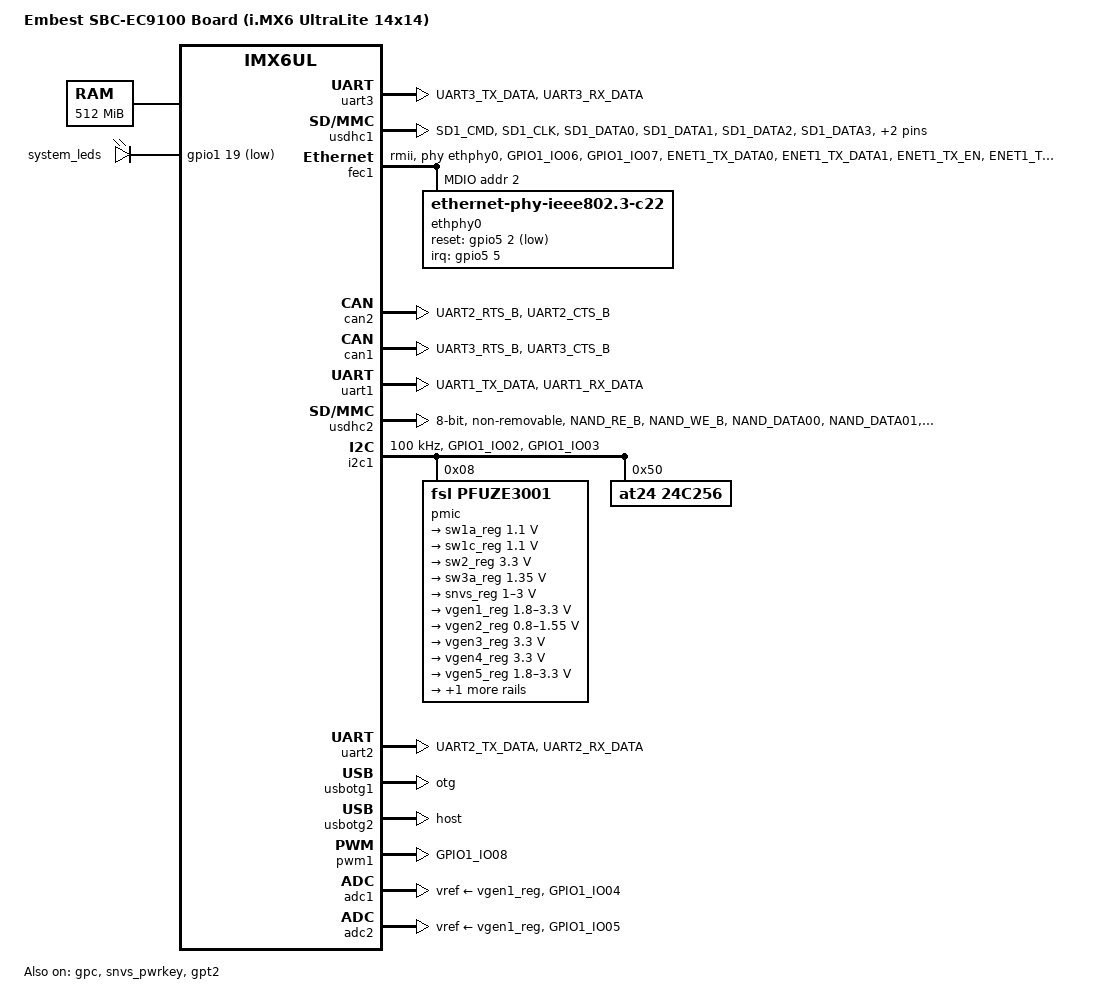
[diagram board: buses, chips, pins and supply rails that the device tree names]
/*
 * Copyright (C) 2015 Freescale Semiconductor, Inc.
 *
 * This program is free software; you can redistribute it and/or modify
 * it under the terms of the GNU General Public License version 2 as
 * published by the Free Software Foundation.
 */

/dts-v1/;

#include <dt-bindings/input/input.h>
#include "imx6ul.dtsi"

/ {
	model = "Embest SBC-EC9100 Board (i.MX6 UltraLite 14x14) ";
	compatible = "fsl,embest_evk_ec9100", "fsl,imx6ul";

	chosen {
		stdout-path = "serial2:115200n8";
	};

	memory {
		reg = <0x80000000 0x20000000>;
	};

	regulators {
		compatible = "simple-bus";
		#address-cells = <1>;
		#size-cells = <0>;
	};

	leds {
		compatible = "gpio-leds";

		led1 {
			label = "system_leds";
			gpios = <&gpio1 19 1>;
			linux,default-trigger = "heartbeat";
		};
	};
};

&cpu0 {
	arm-supply = <&reg_arm>;
	soc-supply = <&reg_soc>;
	clock-frequency = <528000000>;
};

&clks {
	assigned-clocks = <&clks IMX6UL_CLK_PLL4_AUDIO_DIV>;
	assigned-clock-rates = <786432000>;
};

&gpc {
	status = "okay";
};

&uart3 {
	pinctrl-names = "default";
	pinctrl-0 = <&pinctrl_uart3>;
	status = "okay";
	dmas = <&sdma 29 4 0>, <&sdma 30 4 2>;
	dma-names = "rx", "tx";
};

&usdhc1 {
	pinctrl-names = "default", "state_100mhz", "state_200mhz";
	pinctrl-0 = <&pinctrl_usdhc1>;
	pinctrl-1 = <&pinctrl_usdhc1_100mhz>;
	pinctrl-2 = <&pinctrl_usdhc1_200mhz>;
	cd-gpios = <&gpio5 1 GPIO_ACTIVE_LOW>;
	wp-disable;
	keep-power-in-suspend;
	enable-sdio-wakeup;
	status = "okay";
};

&fec1 {
	pinctrl-names = "default";
	pinctrl-0 = <&pinctrl_enet1>;
	phy-mode = "rmii";
	phy-handle = <&ethphy0>;
	status = "okay";
	// Deprecated
	//phy-reset-gpios = <&gpio5 2 GPIO_ACTIVE_LOW>;
	//phy-reset-duration = <1>;
	//phy-reset-postdelay = <1>;
	// This appears to be a FreeBSD extension.
	//phy-disable-preamble;

	mdio {
		#address-cells = <1>;
		#size-cells = <0>;
		suppress-preamble;

		ethphy0: ethernet-phy@2 {
			compatible = "ethernet-phy-ieee802.3-c22";
			reg = <2>;
			micrel,led-mode = <1>;
			clocks = <&clks IMX6UL_CLK_ENET_REF>;
			clock-names = "rmii-ref";
			max-speed = <100>;
			interrupt-parent = <&gpio5>;
			interrupts = <5 IRQ_TYPE_LEVEL_LOW>;
			reset-gpios = <&gpio5 2 GPIO_ACTIVE_LOW>;
			reset-assert-us = <500>;
			reset-deassert-us = <100>;
		};
	};
};

&can2 {
	pinctrl-names = "default";
	pinctrl-0 = <&pinctrl_flexcan2>;
	status = "okay";
};

&can1 {
	pinctrl-names = "default";
	pinctrl-0 = <&pinctrl_flexcan1>;
	status = "okay";
};

&uart1 {
	pinctrl-names = "default";
	pinctrl-0 = <&pinctrl_uart1>;
	fsl,uart-has-rtscts;
	cts-gpio = <&gpio1 18 0>;
	status = "okay";
	linux,rs485-enabled-at-boot-time;
	dmas = <&sdma 25 4 0>, <&sdma 26 4 2>;
	dma-names = "rx", "tx";
};

&usdhc2 {
	pinctrl-names = "default";
	pinctrl-0 = <&pinctrl_usdhc2>;
	no-1-8-v;
	non-removable;
	keep-power-in-suspend;
	enable-sdio-wakeup;
	bus-width = <8>;
	status = "okay";
};

&i2c1 {
	clock-frequency = <100000>;
	pinctrl-names = "default";
	pinctrl-0 = <&pinctrl_i2c1>;
	status = "okay";

	pmic: pfuze3000@8 {
		compatible = "fsl,pfuze3001";
		reg = <0x08>;
		fsl,pfuze-support-disable-sw;

		regulators {
			// A7 part defaults to 1.4
			sw1a_reg: sw1a {
				regulator-min-microvolt = <1100000>;
				regulator-max-microvolt = <1100000>;
				regulator-boot-on;
				regulator-always-on;
				regulator-ramp-delay = <6250>;
			};

			// A7 part defaults to 1.4
			/* use sw1c_reg to align with pfuze100/pfuze200 */
			sw1c_reg: sw1b {
				regulator-min-microvolt = <1100000>;
				regulator-max-microvolt = <1100000>;
				regulator-boot-on;
				regulator-always-on;
				regulator-ramp-delay = <6250>;
			};

			// A7 part defaults to 3.3
			sw2_reg: sw2 {
				regulator-min-microvolt = <3300000>;
				regulator-max-microvolt = <3300000>;
				regulator-boot-on;
				regulator-always-on;
			};

			// A7 part defaults to 1.35
			sw3a_reg: sw3 {
				regulator-min-microvolt = <1350000>;
				regulator-max-microvolt = <1350000>;
				regulator-boot-on;
				regulator-always-on;
			};

			// TODO: Verify this... reset etc.
			// It looks like this actually needs to be at least 3
			// A7 part defaults to 3.0
			snvs_reg: vsnvs {
				regulator-min-microvolt = <1000000>;
				regulator-max-microvolt = <3000000>;
				regulator-boot-on;
				regulator-always-on;
			};

			// A7 part defaults to 3.3
			vgen1_reg: vldo1 {
				regulator-min-microvolt = <1800000>;
				regulator-max-microvolt = <3300000>;
			};

			// Not connected in schematic
			// A7 part defaults to 1.5 (OFF)
			vgen2_reg: vldo2 {
				regulator-min-microvolt = <800000>;
				regulator-max-microvolt = <1550000>;
			};

			// Was 1V8, 3V3 on schematic
			// A7 part defaults to 3.3/1.85 depending on strapping
			vgen3_reg: vccsd {
				regulator-min-microvolt = <3300000>;
				regulator-max-microvolt = <3300000>;
				regulator-always-on;
			};

			// A7 part defaults to 3.3
			vgen4_reg: v33 {
				regulator-min-microvolt = <3300000>;
				regulator-max-microvolt = <3300000>;
				regulator-always-on;
			};

			// Was 3V3, despite schematic, but has nothing on it.
			// (Is for WiFi which is DNP)
			// A7 part defaults to 1.8 (OFF)
			vgen5_reg: vldo3 {
				regulator-min-microvolt = <1800000>;
				regulator-max-microvolt = <3300000>;
			};

			// Nothing in schemtatic, but listed as 3V3
			// A7 part defaults to 1.8
			vgen6_reg: vldo4 {
				regulator-min-microvolt = <1800000>;
				regulator-max-microvolt = <3300000>;
			};
		};
	};

	// Serial EEPROM
	at24@50 {
		compatible = "at24,24c256";
		pagesize = <64>;
		reg = <0x50>;
	};
};

&uart2 {
	pinctrl-names = "default";
	pinctrl-0 = <&pinctrl_uart2>;
	status = "okay";
	dmas = <&sdma 27 4 0>, <&sdma 28 4 2>;
	dma-names = "rx", "tx";
};

&usbotg1 {
	dr_mode = "otg";
	disable-over-current;
	srp-disable;
	hnp-disable;
	adp-disable;
	status = "okay";
};


&usbotg2 {
	dr_mode = "host";
	disable-over-current;
	status = "okay";
};

&pwm1 {
	pinctrl-names = "default";
	pinctrl-0 = <&pinctrl_pwm1>;
	status = "okay";
};

&adc1 {
	pinctrl-names = "default";
	pinctrl-0 = <&pinctrl_adc1>;
	status = "okay";
	vref-supply = <&vgen1_reg>;
	adc-ch-list = <4>;
};

&aips2 {
	adc2: adc@219c000 {
		compatible = "fsl,imx6ul-adc", "fsl,vf610-adc";
		reg = <0x0219c000 0x4000>;
		interrupts = <GIC_SPI 101 IRQ_TYPE_LEVEL_HIGH>;
		clocks = <&clks IMX6UL_CLK_ADC2>;
		clock-names = "adc";
		fsl,adck-max-frequency = <30000000>, <40000000>,
					 <20000000>;
		status = "disabled";
	};
};

&adc2 {
	pinctrl-names = "default";
	pinctrl-0 = <&pinctrl_adc2>;
	status = "okay";
	vref-supply = <&vgen1_reg>;
	adc-ch-list = <5>;
};

&iomuxc {
	pinctrl-names = "default";
	pinctrl-0 = <&pinctrl_hog_1>;
	imx6ul-evk {
		pinctrl_hog_1: hoggrp-1 {
			fsl,pins = <
				MX6UL_PAD_LCD_RESET__WDOG1_WDOG_ANY 0x30b0	/*reset gpio*/
				MX6UL_PAD_SNVS_TAMPER0__GPIO5_IO00  0x80000000 /*cs-gpio*/
				MX6UL_PAD_SNVS_TAMPER4__GPIO5_IO04  0x17059 /* GPIO EX */
				MX6UL_PAD_GPIO1_IO09__GPIO1_IO09  0x17059 /* GPIO/PWM2*/
				MX6UL_PAD_UART1_RTS_B__GPIO1_IO19	0x80000000 /* LED */
				MX6UL_PAD_UART1_CTS_B__GPIO1_IO18    	0x80000000
				MX6UL_PAD_GPIO1_IO01__GPIO1_IO01      0xb0 // tsc
			>;
		};

		pinctrl_csi1: csi1grp {
			fsl,pins = <
				MX6UL_PAD_CSI_MCLK__CSI_MCLK		0x1b088
				MX6UL_PAD_CSI_PIXCLK__CSI_PIXCLK	0x1b088
				MX6UL_PAD_CSI_VSYNC__CSI_VSYNC		0x1b088
				MX6UL_PAD_CSI_HSYNC__CSI_HSYNC		0x1b088
				MX6UL_PAD_CSI_DATA00__CSI_DATA02	0x1b088
				MX6UL_PAD_CSI_DATA01__CSI_DATA03	0x1b088
				MX6UL_PAD_CSI_DATA02__CSI_DATA04	0x1b088
				MX6UL_PAD_CSI_DATA03__CSI_DATA05	0x1b088
				MX6UL_PAD_CSI_DATA04__CSI_DATA06	0x1b088
				MX6UL_PAD_CSI_DATA05__CSI_DATA07	0x1b088
				MX6UL_PAD_CSI_DATA06__CSI_DATA08	0x1b088
				MX6UL_PAD_CSI_DATA07__CSI_DATA09	0x1b088
			>;
		};

		pinctrl_uart3: uart3grp {
			fsl,pins = <
				MX6UL_PAD_UART3_TX_DATA__UART3_DCE_TX  0x1b0b1
				MX6UL_PAD_UART3_RX_DATA__UART3_DCE_RX  0x1b0b1
			>;
		};

		pinctrl_usdhc1: usdhc1grp {
			fsl,pins = <
				MX6UL_PAD_SD1_CMD__USDHC1_CMD     0x17059
				MX6UL_PAD_SD1_CLK__USDHC1_CLK     0x10071
				MX6UL_PAD_SD1_DATA0__USDHC1_DATA0 0x17059
				MX6UL_PAD_SD1_DATA1__USDHC1_DATA1 0x17059
				MX6UL_PAD_SD1_DATA2__USDHC1_DATA2 0x17059
				MX6UL_PAD_SD1_DATA3__USDHC1_DATA3 0x17059
				MX6UL_PAD_SNVS_TAMPER1__GPIO5_IO01  0x17059 /* SD1 CD */
			>;
		};

		pinctrl_usdhc1_100mhz: usdhc1grp100mhz {
			fsl,pins = <
				MX6UL_PAD_SD1_CMD__USDHC1_CMD     0x170b9
				MX6UL_PAD_SD1_CLK__USDHC1_CLK     0x100b9
				MX6UL_PAD_SD1_DATA0__USDHC1_DATA0 0x170b9
				MX6UL_PAD_SD1_DATA1__USDHC1_DATA1 0x170b9
				MX6UL_PAD_SD1_DATA2__USDHC1_DATA2 0x170b9
				MX6UL_PAD_SD1_DATA3__USDHC1_DATA3 0x170b9
			>;
		};

		pinctrl_usdhc1_200mhz: usdhc1grp200mhz {
			fsl,pins = <
				MX6UL_PAD_SD1_CMD__USDHC1_CMD     0x170f9
				MX6UL_PAD_SD1_CLK__USDHC1_CLK     0x100f9
				MX6UL_PAD_SD1_DATA0__USDHC1_DATA0 0x170f9
				MX6UL_PAD_SD1_DATA1__USDHC1_DATA1 0x170f9
				MX6UL_PAD_SD1_DATA2__USDHC1_DATA2 0x170f9
				MX6UL_PAD_SD1_DATA3__USDHC1_DATA3 0x170f9
			>;
		};

		pinctrl_enet1: enet1grp {
			fsl,pins = <
				MX6UL_PAD_GPIO1_IO06__ENET1_MDIO        0xa8e8
				/* These were all 0x1b0b0 */
				MX6UL_PAD_GPIO1_IO07__ENET1_MDC         0xa0e9
				MX6UL_PAD_ENET1_TX_DATA0__ENET1_TDATA00	0x1b0b0
				MX6UL_PAD_ENET1_TX_DATA1__ENET1_TDATA01	0x1b0b0
				MX6UL_PAD_ENET1_TX_EN__ENET1_TX_EN	0x1b010
				// Needs to have sion bit for Linux... 0x4001b031
				//MX6UL_PAD_ENET1_TX_CLK__ENET1_REF_CLK1	0x1b031
				MX6UL_PAD_ENET1_TX_CLK__ENET1_REF_CLK1	0x4001b031
				MX6UL_PAD_ENET1_RX_DATA0__ENET1_RDATA00	0x1b0b0
				MX6UL_PAD_ENET1_RX_DATA1__ENET1_RDATA01	0x1b0b0
				MX6UL_PAD_ENET1_RX_ER__ENET1_RX_ER	0x1b0b0
				MX6UL_PAD_ENET1_RX_EN__ENET1_RX_EN	0x1b0b0
				MX6UL_PAD_SNVS_TAMPER2__GPIO5_IO02      0x80000000 /* PHY Reset (Active Low with pull-up) */
			>;
		};

		pinctrl_flexcan2: flexcan2grp{
			fsl,pins = <
				MX6UL_PAD_UART2_RTS_B__FLEXCAN2_RX	0x1b020
				MX6UL_PAD_UART2_CTS_B__FLEXCAN2_TX	0x1b020
			>;
		};

		pinctrl_flexcan1: flexcan1grp{
			fsl,pins = <
				MX6UL_PAD_UART3_RTS_B__FLEXCAN1_RX	0x1b020
				MX6UL_PAD_UART3_CTS_B__FLEXCAN1_TX	0x1b020
			>;
		};

		pinctrl_uart1: uart1grp {
			fsl,pins = <
				MX6UL_PAD_UART1_TX_DATA__UART1_DCE_TX	0x1b0b1
				MX6UL_PAD_UART1_RX_DATA__UART1_DCE_RX	0x1b0b1
			/*	MX6UL_PAD_UART1_CTS_B__UART1_DCE_CTS	0x1b0b1*/
			>;
		};

		pinctrl_usdhc2: usdhc2grp {
			fsl,pins = <
				MX6UL_PAD_NAND_RE_B__USDHC2_CLK     0x10069
				MX6UL_PAD_NAND_WE_B__USDHC2_CMD     0x17059
				MX6UL_PAD_NAND_DATA00__USDHC2_DATA0 0x17059
				MX6UL_PAD_NAND_DATA01__USDHC2_DATA1 0x17059
				MX6UL_PAD_NAND_DATA02__USDHC2_DATA2 0x17059
				MX6UL_PAD_NAND_DATA03__USDHC2_DATA3 0x17059
				MX6UL_PAD_NAND_DATA04__USDHC2_DATA4 0x17059
				MX6UL_PAD_NAND_DATA05__USDHC2_DATA5 0x17059
				MX6UL_PAD_NAND_DATA06__USDHC2_DATA6 0x17059
				MX6UL_PAD_NAND_DATA07__USDHC2_DATA7 0x17059
			>;
		};

		pinctrl_i2c1: i2c1grp {
			fsl,pins = <
				MX6UL_PAD_GPIO1_IO02__I2C1_SCL       0x4001b8b0
				MX6UL_PAD_GPIO1_IO03__I2C1_SDA       0x4001b8b0
			>;
		};

		pinctrl_uart2: uart2grp {
			fsl,pins = <
				MX6UL_PAD_UART2_TX_DATA__UART2_DCE_TX	0x1b0b1
				MX6UL_PAD_UART2_RX_DATA__UART2_DCE_RX	0x1b0b1
			>;
		};

		pinctrl_lcdif_dat: lcdifdatgrp {
			fsl,pins = <
				MX6UL_PAD_LCD_DATA00__LCDIF_DATA00  0x79
				MX6UL_PAD_LCD_DATA01__LCDIF_DATA01  0x79
				MX6UL_PAD_LCD_DATA02__LCDIF_DATA02  0x79
				MX6UL_PAD_LCD_DATA03__LCDIF_DATA03  0x79
				MX6UL_PAD_LCD_DATA04__LCDIF_DATA04  0x79
				MX6UL_PAD_LCD_DATA05__LCDIF_DATA05  0x79
				MX6UL_PAD_LCD_DATA06__LCDIF_DATA06  0x79
				MX6UL_PAD_LCD_DATA07__LCDIF_DATA07  0x79
				MX6UL_PAD_LCD_DATA08__LCDIF_DATA08  0x79
				MX6UL_PAD_LCD_DATA09__LCDIF_DATA09  0x79
				MX6UL_PAD_LCD_DATA10__LCDIF_DATA10  0x79
				MX6UL_PAD_LCD_DATA11__LCDIF_DATA11  0x79
				MX6UL_PAD_LCD_DATA12__LCDIF_DATA12  0x79
				MX6UL_PAD_LCD_DATA13__LCDIF_DATA13  0x79
				MX6UL_PAD_LCD_DATA14__LCDIF_DATA14  0x79
				MX6UL_PAD_LCD_DATA15__LCDIF_DATA15  0x79
				MX6UL_PAD_LCD_DATA16__LCDIF_DATA16  0x79
				MX6UL_PAD_LCD_DATA17__LCDIF_DATA17  0x79
				MX6UL_PAD_LCD_DATA18__LCDIF_DATA18  0x79
				MX6UL_PAD_LCD_DATA19__LCDIF_DATA19  0x79
				MX6UL_PAD_LCD_DATA20__LCDIF_DATA20  0x79
				MX6UL_PAD_LCD_DATA21__LCDIF_DATA21  0x79
				MX6UL_PAD_LCD_DATA22__LCDIF_DATA22  0x79
				MX6UL_PAD_LCD_DATA23__LCDIF_DATA23  0x79
			>;
		};

		pinctrl_lcdif_ctrl: lcdifctrlgrp {
			fsl,pins = <
				MX6UL_PAD_LCD_CLK__LCDIF_CLK	    0x79
				MX6UL_PAD_LCD_ENABLE__LCDIF_ENABLE  0x79
				MX6UL_PAD_LCD_HSYNC__LCDIF_HSYNC    0x79
				MX6UL_PAD_LCD_VSYNC__LCDIF_VSYNC    0x79
			>;
		};

		pinctrl_ecspi2_1: ecspi2grp-1 {
			fsl,pins = <
					MX6UL_PAD_UART5_TX_DATA__ECSPI2_MOSI    0x0b0b0 /* CSPI_MOSI */
					MX6UL_PAD_UART5_RX_DATA__ECSPI2_MISO    0x0b0b0 /* CSPI_MISO */
					MX6UL_PAD_UART4_TX_DATA__ECSPI2_SCLK    0x0b0b0 /* CSPI_SCLK */
			>;
		};

		pinctrl_pwm1: pwm1grp {
			fsl,pins = <
					MX6UL_PAD_GPIO1_IO08__PWM1_OUT   0x110b0
			>;
		};

		pinctrl_adc1: adc1grp {
			fsl,pins = <
					MX6UL_PAD_GPIO1_IO04__GPIO1_IO04   0xb0
			>;
		};

		pinctrl_adc2: adc2grp {
			fsl,pins = <
					MX6UL_PAD_GPIO1_IO05__GPIO1_IO05   0xb0
			>;
		};
	};
};

&snvs_poweroff {
	status = "okay";
};

&snvs_pwrkey {
	status = "okay";
};

&gpt2 {
	status = "okay";
};
